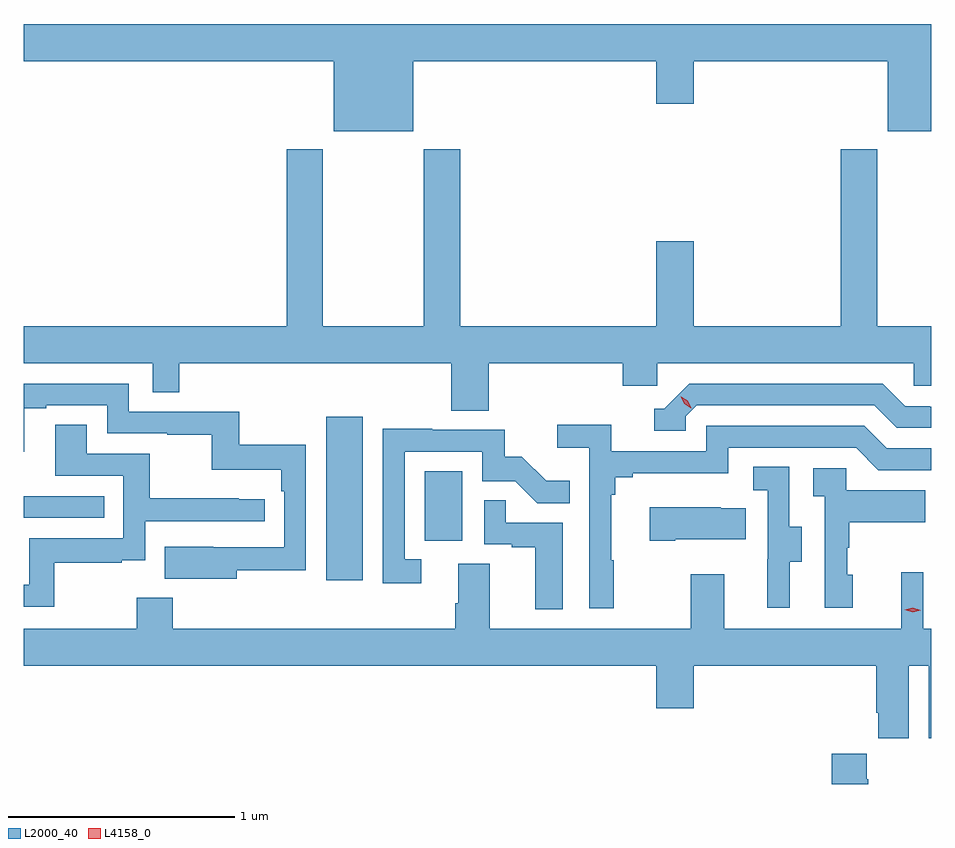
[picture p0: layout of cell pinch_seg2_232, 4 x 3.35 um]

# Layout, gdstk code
import gdstk
lib = gdstk.Library(unit=1e-6, precision=1e-09)
def R(c, l, rs):  # rectangles x0, y0, x1, y1
    for r in rs: c.add(gdstk.rectangle(r[:2], r[2:], *l))
def P(c, l, *ps):  # polygons
    for p in ps: c.add(gdstk.Polygon(p, *l))
L2000_40 = (2000, 40)
L4158_0 = (4158, 0)

pinch_seg2_232 = lib.new_cell('pinch_seg2_232')
R(pinch_seg2_232, L2000_40, [(930.785,649.344,930.946,650.065), (931.22,649.518,931.384,649.825), (929.452,649.62,929.807,649.716)])
P(pinch_seg2_232, L2000_40, [(931.168,651.632),(932.24,651.632),(932.24,651.444),(932.404,651.444),(932.404,651.632),(933.26,651.632),(933.26,651.323),(933.452,651.323),(933.452,651.796),(929.452,651.796),(929.452,651.632),(930.818,651.632),(930.818,651.323),(931.168,651.323)],
  [(931.502,650.3),(932.093,650.3),(932.093,650.202),(932.244,650.202),(932.244,650.3),(933.375,650.3),(933.375,650.202),(933.452,650.202),(933.452,650.464),(933.213,650.464),(933.213,651.244),(933.053,651.244),(933.053,650.464),(932.404,650.464),(932.404,650.839),(932.24,650.839),(932.24,650.464),(931.376,650.464),(931.376,651.244),(931.216,651.244),(931.216,650.464),(930.771,650.464),(930.771,651.244),(930.611,651.244),(930.611,650.464),(929.452,650.464),(929.452,650.3),(930.021,650.3),(930.021,650.173),(930.137,650.173),(930.137,650.3),(931.337,650.3),(931.337,650.092),(931.502,650.092)],
  [(932.37,650.067),(932.418,650.115),(933.201,650.115),(933.3,650.016),(933.452,650.016),(933.452,650.109),(933.444,650.109),(933.444,650.112),(933.337,650.112),(933.238,650.211),(932.385,650.211),(932.274,650.1),(932.231,650.1),(932.231,650.004),(932.37,650.004)],
  [(930.391,649.39),(930.696,649.39),(930.696,649.942),(930.403,649.942),(930.403,650.088),(929.916,650.088),(929.916,650.211),(929.452,650.211),(929.452,649.91),(929.455,649.91),(929.455,650.103),(929.551,650.103),(929.551,650.115),(929.82,650.115),(929.82,649.992),(930.085,649.992),(930.085,649.987),(930.282,649.987),(930.282,649.832),(930.587,649.832),(930.587,649.736),(930.6,649.736),(930.6,649.491),(930.287,649.491),(930.287,649.492),(930.073,649.492),(930.073,649.352),(930.391,649.352)],
  [(932.053,649.433),(932.041,649.433),(932.041,649.721),(932.06,649.721),(932.06,649.798),(932.137,649.798),(932.137,649.817),(932.556,649.817),(932.556,649.929),(933.12,649.929),(933.219,649.83),(933.452,649.83),(933.452,649.926),(933.256,649.926),(933.157,650.025),(932.46,650.025),(932.46,649.914),(932.042,649.914),(932.042,650.03),(931.803,650.03),(931.803,649.928),(931.944,649.928),(931.944,649.221),(932.053,649.221)],
  [(929.587,649.422),(929.885,649.422),(929.885,649.433),(929.988,649.433),(929.988,649.605),(930.514,649.605),(930.514,649.701),(930.401,649.701),(930.401,649.706),(930.008,649.706),(930.008,649.902),(929.731,649.902),(929.731,650.03),(929.591,650.03),(929.591,649.806),(929.892,649.806),(929.892,649.53),(929.476,649.53),(929.476,649.324),(929.452,649.324),(929.452,649.227),(929.587,649.227)],
  [(931.204,649.437),(931.131,649.437),(931.131,649.911),(931.473,649.911),(931.473,649.782),(931.618,649.782),(931.716,649.684),(931.859,649.684),(931.859,649.783),(931.755,649.783),(931.648,649.89),(931.572,649.89),(931.572,650.007),(931.253,650.007),(931.253,650.012),(931.035,650.012),(931.035,649.332),(931.204,649.332)],
  [(932.827,649.426),(932.881,649.426),(932.881,649.581),(932.826,649.581),(932.826,649.844),(932.667,649.844),(932.667,649.741),(932.73,649.741),(932.73,649.437),(932.729,649.437),(932.729,649.224),(932.827,649.224)],
  [(933.106,649.368),(933.081,649.368),(933.081,649.487),(933.091,649.487),(933.091,649.601),(933.425,649.601),(933.425,649.741),(933.078,649.741),(933.078,649.839),(932.931,649.839),(932.931,649.715),(932.982,649.715),(932.982,649.224),(933.106,649.224)],
  [(931.828,649.599),(931.577,649.599),(931.577,649.697),(931.482,649.697),(931.482,649.503),(931.603,649.503),(931.603,649.491),(931.706,649.491),(931.706,649.217),(931.828,649.217)],
  [(932.323,649.526),(932.633,649.526),(932.633,649.663),(932.525,649.663),(932.525,649.666),(932.211,649.666),(932.211,649.519),(932.323,649.519)],
  [(932.404,648.968),(933.209,648.968),(933.209,648.76),(933.218,648.76),(933.218,648.648),(933.352,648.648),(933.352,648.968),(933.44,648.968),(933.44,648.648),(933.452,648.648),(933.452,649.132),(933.417,649.132),(933.417,649.381),(933.32,649.381),(933.32,649.132),(932.539,649.132),(932.539,649.372),(932.392,649.372),(932.392,649.132),(931.507,649.132),(931.507,649.418),(931.367,649.418),(931.367,649.244),(931.355,649.244),(931.355,649.132),(930.11,649.132),(930.11,649.267),(929.95,649.267),(929.95,649.132),(929.452,649.132),(929.452,648.968),(932.24,648.968),(932.24,648.78),(932.404,648.78)],
  [(933.174,648.467),(933.167,648.467),(933.167,648.58),(933.014,648.58),(933.014,648.447),(933.174,648.447)])
P(pinch_seg2_232, L4158_0, [(933.37,649.204),(933.334,649.214),(933.334,649.214),(933.334,649.215),(933.37,649.224),(933.406,649.213),(933.406,649.213),(933.406,649.213)],
  [(932.394,650.102),(932.364,650.122),(932.348,650.154),(932.348,650.154),(932.349,650.154),(932.379,650.135),(932.394,650.102),(932.394,650.102)])

lib.write_gds('pinch_seg2_232.gds')
